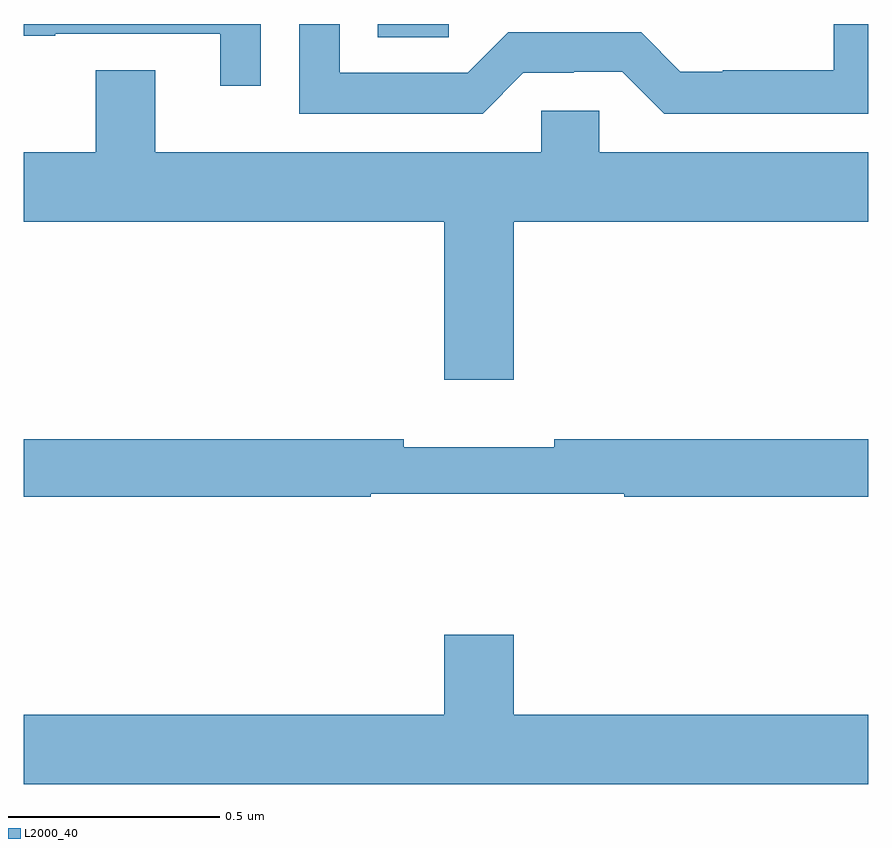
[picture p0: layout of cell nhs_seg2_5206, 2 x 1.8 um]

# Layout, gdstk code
import gdstk
lib = gdstk.Library(unit=1e-6, precision=1e-09)
def R(c, l, rs):  # rectangles x0, y0, x1, y1
    for r in rs: c.add(gdstk.rectangle(r[:2], r[2:], *l))
def P(c, l, *ps):  # polygons
    for p in ps: c.add(gdstk.Polygon(p, *l))
L2000_40 = (2000, 40)

nhs_seg2_5206 = lib.new_cell('nhs_seg2_5206')
R(nhs_seg2_5206, L2000_40, [(176.838,618.769,177.007,618.8)])
P(nhs_seg2_5206, L2000_40, [(178,618.8),(177.918,618.8),(177.918,618.691),(177.655,618.691),(177.655,618.687),(177.555,618.687),(177.462,618.78),(177.147,618.78),(177.051,618.684),(176.748,618.684),(176.748,618.8),(176.652,618.8),(176.652,618.588),(177.087,618.588),(177.183,618.684),(177.302,618.684),(177.302,618.687),(177.417,618.687),(177.517,618.587),(178,618.587)],
  [(176.561,618.8),(176,618.8),(176,618.772),(176.075,618.772),(176.075,618.777),(176.465,618.777),(176.465,618.654),(176.561,618.654)],
  [(177.225,618.594),(177.225,618.496),(176.311,618.496),(176.311,618.691),(176.171,618.691),(176.171,618.496),(176,618.496),(176,618.332),(176.996,618.332),(176.996,617.958),(177.16,617.958),(177.16,618.332),(178,618.332),(178,618.496),(177.363,618.496),(177.363,618.594)],
  [(176.822,617.688),(177.422,617.688),(177.422,617.68),(178,617.68),(178,617.816),(177.256,617.816),(177.256,617.797),(176.9,617.797),(176.9,617.816),(176,617.816),(176,617.68),(176.822,617.68)],
  [(178,617.164),(177.16,617.164),(177.16,617.353),(176.996,617.353),(176.996,617.164),(176,617.164),(176,617),(178,617)])

lib.write_gds('nhs_seg2_5206.gds')
